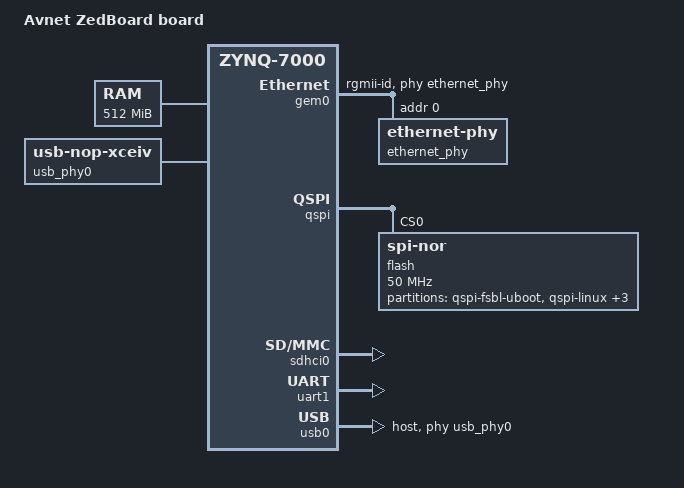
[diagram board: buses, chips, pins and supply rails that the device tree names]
// SPDX-License-Identifier: GPL-2.0
/*
 *  Copyright (C) 2011 - 2014 Xilinx
 *  Copyright (C) 2012 National Instruments Corp.
 */
/dts-v1/;
#include "zynq-7000.dtsi"

/ {
	model = "Avnet ZedBoard board";
	compatible = "avnet,zynq-zed", "xlnx,zynq-zed", "xlnx,zynq-7000";

	aliases {
		ethernet0 = &gem0;
		serial0 = &uart1;
		spi0 = &qspi;
		mmc0 = &sdhci0;
	};

	memory@0 {
		device_type = "memory";
		reg = <0x0 0x20000000>;
	};

	chosen {
		bootargs = "";
		stdout-path = "serial0:115200n8";
	};

	usb_phy0: phy0 {
		compatible = "usb-nop-xceiv";
		#phy-cells = <0>;
	};
};

&clkc {
	ps-clk-frequency = <33333333>;
};

&gem0 {
	status = "okay";
	phy-mode = "rgmii-id";
	phy-handle = <&ethernet_phy>;

	ethernet_phy: ethernet-phy@0 {
		reg = <0>;
	};
};

&qspi {
	bootph-all;
	status = "okay";
	num-cs = <1>;
	flash@0 {
		compatible = "jedec,spi-nor";
		reg = <0>;
		spi-tx-bus-width = <1>;
		spi-rx-bus-width = <4>;
		spi-max-frequency = <50000000>;
		m25p,fast-read;
		partitions {
			compatible = "fixed-partitions";
			#address-cells = <1>;
			#size-cells = <1>;
			partition@0 {
				label = "qspi-fsbl-uboot";
				reg = <0x0 0x100000>;
			};
			partition@100000 {
				label = "qspi-linux";
				reg = <0x100000 0x500000>;
			};
			partition@600000 {
				label = "qspi-device-tree";
				reg = <0x600000 0x20000>;
			};
			partition@620000 {
				label = "qspi-rootfs";
				reg = <0x620000 0x5e0000>;
			};
			partition@c00000 {
				label = "qspi-bitstream";
				reg = <0xc00000 0x400000>;
			};
		};
	};
};

&sdhci0 {
	bootph-all;
	status = "okay";
};

&uart1 {
	bootph-all;
	status = "okay";
};

&usb0 {
	status = "okay";
	dr_mode = "host";
	usb-phy = <&usb_phy0>;
};
